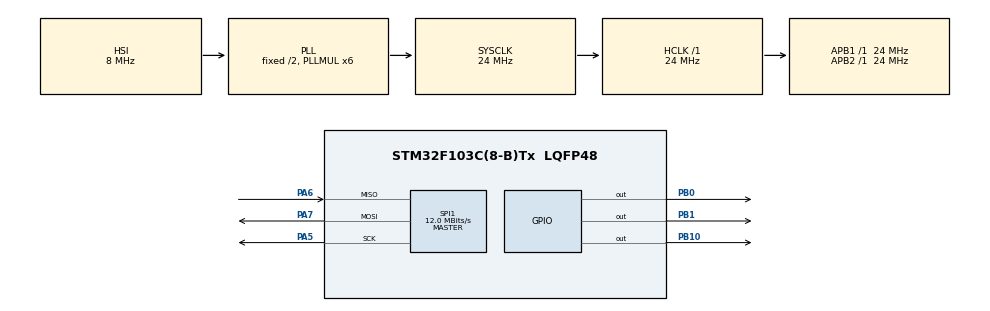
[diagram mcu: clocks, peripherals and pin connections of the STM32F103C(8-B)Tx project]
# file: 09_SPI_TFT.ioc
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Mcu.Family=STM32F1
Mcu.Name=STM32F103C(8-B)Tx
Mcu.Package=LQFP48
NVIC.PriorityGroup=NVIC_PRIORITYGROUP_4
PA13.Mode=Serial_Wire
PA13.Signal=SYS_JTMS-SWDIO
PA14.Mode=Serial_Wire
PA14.Signal=SYS_JTCK-SWCLK
PA5.Mode=Full_Duplex_Master
PA5.Signal=SPI1_SCK
PA6.Mode=Full_Duplex_Master
PA6.Signal=SPI1_MISO
PA7.Mode=Full_Duplex_Master
PA7.Signal=SPI1_MOSI
PB0.Signal=GPIO_Output
PB1.Signal=GPIO_Output
PB10.Signal=GPIO_Output
ProjectManager.HeapSize=0x200
ProjectManager.StackSize=0x400
ProjectManager.TargetToolchain=MDK-ARM V5.32
RCC.AHBFreq_Value=24000000
RCC.APB1Freq_Value=24000000
RCC.APB1TimFreq_Value=24000000
RCC.APB2Freq_Value=24000000
RCC.APB2TimFreq_Value=24000000
RCC.HCLKFreq_Value=24000000
RCC.PLLMUL=RCC_PLL_MUL6
RCC.SYSCLKFreq_VALUE=24000000
RCC.SYSCLKSource=RCC_SYSCLKSOURCE_PLLCLK
RCC.USBFreq_Value=24000000
SPI1.CalculateBaudRate=12.0 MBits/s
SPI1.Direction=SPI_DIRECTION_2LINES
SPI1.Mode=SPI_MODE_MASTER
SPI1.VirtualType=VM_MASTER
board=custom

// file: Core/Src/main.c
/* USER CODE BEGIN Header */
/**
  ******************************************************************************
  * @file           : main.c
  * @brief          : Main program body
  ******************************************************************************
  * @attention
  *
  * Copyright (c) 2025 STMicroelectronics.
  * All rights reserved.
  *
  * This software is licensed under terms that can be found in the LICENSE file
  * in the root directory of this software component.
  * If no LICENSE file comes with this software, it is provided AS-IS.
  *
  ******************************************************************************
  */
/* USER CODE END Header */
#include "main.h"

SPI_HandleTypeDef hspi1;

void SystemClock_Config(void);
static void MX_GPIO_Init(void);
static void MX_SPI1_Init(void);

/* USER CODE BEGIN 0 */
#define LCD_CMD_END 0xFF

typedef struct {
  uint8_t width;
  uint8_t height;
  const uint16_t *data;
}FontDef;

// font ky tu
static const uint16_t Font7x10 [] = {
0x0000, 0x0000, 0x0000, 0x0000, 0x0000, 0x0000, 0x0000, 0x0000, 0x0000, 0x0000,  // sp
0x1000, 0x1000, 0x1000, 0x1000, 0x1000, 0x1000, 0x0000, 0x1000, 0x0000, 0x0000,  // !
0x2800, 0x2800, 0x2800, 0x0000, 0x0000, 0x0000, 0x0000, 0x0000, 0x0000, 0x0000,  // "
0x2400, 0x2400, 0x7C00, 0x2400, 0x4800, 0x7C00, 0x4800, 0x4800, 0x0000, 0x0000,  // #
0x3800, 0x5400, 0x5000, 0x3800, 0x1400, 0x5400, 0x5400, 0x3800, 0x1000, 0x0000,  // $
0x2000, 0x5400, 0x5800, 0x3000, 0x2800, 0x5400, 0x1400, 0x0800, 0x0000, 0x0000,  // %
0x1000, 0x2800, 0x2800, 0x1000, 0x3400, 0x4800, 0x4800, 0x3400, 0x0000, 0x0000,  // &
0x1000, 0x1000, 0x1000, 0x0000, 0x0000, 0x0000, 0x0000, 0x0000, 0x0000, 0x0000,  // '
0x0800, 0x1000, 0x2000, 0x2000, 0x2000, 0x2000, 0x2000, 0x2000, 0x1000, 0x0800,  // (
0x2000, 0x1000, 0x0800, 0x0800, 0x0800, 0x0800, 0x0800, 0x0800, 0x1000, 0x2000,  // )
0x1000, 0x3800, 0x1000, 0x2800, 0x0000, 0x0000, 0x0000, 0x0000, 0x0000, 0x0000,  // *
0x0000, 0x0000, 0x1000, 0x1000, 0x7C00, 0x1000, 0x1000, 0x0000, 0x0000, 0x0000,  // +
0x0000, 0x0000, 0x0000, 0x0000, 0x0000, 0x0000, 0x0000, 0x1000, 0x1000, 0x1000,  // ,
0x0000, 0x0000, 0x0000, 0x0000, 0x0000, 0x3800, 0x0000, 0x0000, 0x0000, 0x0000,  // -
0x0000, 0x0000, 0x0000, 0x0000, 0x0000, 0x0000, 0x0000, 0x1000, 0x0000, 0x0000,  // .
0x0800, 0x0800, 0x1000, 0x1000, 0x1000, 0x1000, 0x2000, 0x2000, 0x0000, 0x0000,  // /
0x3800, 0x4400, 0x4400, 0x5400, 0x4400, 0x4400, 0x4400, 0x3800, 0x0000, 0x0000,  // 0
0x1000, 0x3000, 0x5000, 0x1000, 0x1000, 0x1000, 0x1000, 0x1000, 0x0000, 0x0000,  // 1
0x3800, 0x4400, 0x4400, 0x0400, 0x0800, 0x1000, 0x2000, 0x7C00, 0x0000, 0x0000,  // 2
0x3800, 0x4400, 0x0400, 0x1800, 0x0400, 0x0400, 0x4400, 0x3800, 0x0000, 0x0000,  // 3
0x0800, 0x1800, 0x2800, 0x2800, 0x4800, 0x7C00, 0x0800, 0x0800, 0x0000, 0x0000,  // 4
0x7C00, 0x4000, 0x4000, 0x7800, 0x0400, 0x0400, 0x4400, 0x3800, 0x0000, 0x0000,  // 5
0x3800, 0x4400, 0x4000, 0x7800, 0x4400, 0x4400, 0x4400, 0x3800, 0x0000, 0x0000,  // 6
0x7C00, 0x0400, 0x0800, 0x1000, 0x1000, 0x2000, 0x2000, 0x2000, 0x0000, 0x0000,  // 7
0x3800, 0x4400, 0x4400, 0x3800, 0x4400, 0x4400, 0x4400, 0x3800, 0x0000, 0x0000,  // 8
0x3800, 0x4400, 0x4400, 0x4400, 0x3C00, 0x0400, 0x4400, 0x3800, 0x0000, 0x0000,  // 9
0x0000, 0x0000, 0x1000, 0x0000, 0x0000, 0x0000, 0x0000, 0x1000, 0x0000, 0x0000,  // :
0x0000, 0x0000, 0x0000, 0x1000, 0x0000, 0x0000, 0x0000, 0x1000, 0x1000, 0x1000,  // ;
0x0000, 0x0000, 0x0C00, 0x3000, 0x4000, 0x3000, 0x0C00, 0x0000, 0x0000, 0x0000,  // <
0x0000, 0x0000, 0x0000, 0x7C00, 0x0000, 0x7C00, 0x0000, 0x0000, 0x0000, 0x0000,  // =
0x0000, 0x0000, 0x6000, 0x1800, 0x0400, 0x1800, 0x6000, 0x0000, 0x0000, 0x0000,  // >
0x3800, 0x4400, 0x0400, 0x0800, 0x1000, 0x1000, 0x0000, 0x1000, 0x0000, 0x0000,  // ?
0x3800, 0x4400, 0x4C00, 0x5400, 0x5C00, 0x4000, 0x4000, 0x3800, 0x0000, 0x0000,  // @
0x1000, 0x2800, 0x2800, 0x2800, 0x2800, 0x7C00, 0x4400, 0x4400, 0x0000, 0x0000,  // A
0x7800, 0x4400, 0x4400, 0x7800, 0x4400, 0x4400, 0x4400, 0x7800, 0x0000, 0x0000,  // B
0x3800, 0x4400, 0x4000, 0x4000, 0x4000, 0x4000, 0x4400, 0x3800, 0x0000, 0x0000,  // C
0x7000, 0x4800, 0x4400, 0x4400, 0x4400, 0x4400, 0x4800, 0x7000, 0x0000, 0x0000,  // D
0x7C00, 0x4000, 0x4000, 0x7C00, 0x4000, 0x4000, 0x4000, 0x7C00, 0x0000, 0x0000,  // E
0x7C00, 0x4000, 0x4000, 0x7800, 0x4000, 0x4000, 0x4000, 0x4000, 0x0000, 0x0000,  // F
0x3800, 0x4400, 0x4000, 0x4000, 0x5C00, 0x4400, 0x4400, 0x3800, 0x0000, 0x0000,  // G
0x4400, 0x4400, 0x4400, 0x7C00, 0x4400, 0x4400, 0x4400, 0x4400, 0x0000, 0x0000,  // H
0x3800, 0x1000, 0x1000, 0x1000, 0x1000, 0x1000, 0x1000, 0x3800, 0x0000, 0x0000,  // I
0x0400, 0x0400, 0x0400, 0x0400, 0x0400, 0x0400, 0x4400, 0x3800, 0x0000, 0x0000,  // J
0x4400, 0x4800, 0x5000, 0x6000, 0x5000, 0x4800, 0x4800, 0x4400, 0x0000, 0x0000,  // K
0x4000, 0x4000, 0x4000, 0x4000, 0x4000, 0x4000, 0x4000, 0x7C00, 0x0000, 0x0000,  // L
0x4400, 0x6C00, 0x6C00, 0x5400, 0x4400, 0x4400, 0x4400, 0x4400, 0x0000, 0x0000,  // M
0x4400, 0x6400, 0x6400, 0x5400, 0x5400, 0x4C00, 0x4C00, 0x4400, 0x0000, 0x0000,  // N
0x3800, 0x4400, 0x4400, 0x4400, 0x4400, 0x4400, 0x4400, 0x3800, 0x0000, 0x0000,  // O
0x7800, 0x4400, 0x4400, 0x4400, 0x7800, 0x4000, 0x4000, 0x4000, 0x0000, 0x0000,  // P
0x3800, 0x4400, 0x4400, 0x4400, 0x4400, 0x4400, 0x5400, 0x3800, 0x0400, 0x0000,  // Q
0x7800, 0x4400, 0x4400, 0x4400, 0x7800, 0x4800, 0x4800, 0x4400, 0x0000, 0x0000,  // R
0x3800, 0x4400, 0x4000, 0x3000, 0x0800, 0x0400, 0x4400, 0x3800, 0x0000, 0x0000,  // S
0x7C00, 0x1000, 0x1000, 0x1000, 0x1000, 0x1000, 0x1000, 0x1000, 0x0000, 0x0000,  // T
0x4400, 0x4400, 0x4400, 0x4400, 0x4400, 0x4400, 0x4400, 0x3800, 0x0000, 0x0000,  // U
0x4400, 0x4400, 0x4400, 0x2800, 0x2800, 0x2800, 0x1000, 0x1000, 0x0000, 0x0000,  // V
0x4400, 0x4400, 0x5400, 0x5400, 0x5400, 0x6C00, 0x2800, 0x2800, 0x0000, 0x0000,  // W
0x4400, 0x2800, 0x2800, 0x1000, 0x1000, 0x2800, 0x2800, 0x4400, 0x0000, 0x0000,  // X
0x4400, 0x4400, 0x2800, 0x2800, 0x1000, 0x1000, 0x1000, 0x1000, 0x0000, 0x0000,  // Y
0x7C00, 0x0400, 0x0800, 0x1000, 0x1000, 0x2000, 0x4000, 0x7C00, 0x0000, 0x0000,  // Z
0x1800, 0x1000, 0x1000, 0x1000, 0x1000, 0x1000, 0x1000, 0x1000, 0x1000, 0x1800,  // [
0x2000, 0x2000, 0x1000, 0x1000, 0x1000, 0x1000, 0x0800, 0x0800, 0x0000, 0x0000,  /* \ */
0x3000, 0x1000, 0x1000, 0x1000, 0x1000, 0x1000, 0x1000, 0x1000, 0x1000, 0x3000,  // ]
0x1000, 0x2800, 0x2800, 0x4400, 0x0000, 0x0000, 0x0000, 0x0000, 0x0000, 0x0000,  // ^
0x0000, 0x0000, 0x0000, 0x0000, 0x0000, 0x0000, 0x0000, 0x0000, 0x0000, 0xFE00,  // _
0x2000, 0x1000, 0x0000, 0x0000, 0x0000, 0x0000, 0x0000, 0x0000, 0x0000, 0x0000,  // `
0x0000, 0x0000, 0x3800, 0x4400, 0x3C00, 0x4400, 0x4C00, 0x3400, 0x0000, 0x0000,  // a
0x4000, 0x4000, 0x5800, 0x6400, 0x4400, 0x4400, 0x6400, 0x5800, 0x0000, 0x0000,  // b
0x0000, 0x0000, 0x3800, 0x4400, 0x4000, 0x4000, 0x4400, 0x3800, 0x0000, 0x0000,  // c
0x0400, 0x0400, 0x3400, 0x4C00, 0x4400, 0x4400, 0x4C00, 0x3400, 0x0000, 0x0000,  // d
0x0000, 0x0000, 0x3800, 0x4400, 0x7C00, 0x4000, 0x4400, 0x3800, 0x0000, 0x0000,  // e
0x0C00, 0x1000, 0x7C00, 0x1000, 0x1000, 0x1000, 0x1000, 0x1000, 0x0000, 0x0000,  // f
0x0000, 0x0000, 0x3400, 0x4C00, 0x4400, 0x4400, 0x4C00, 0x3400, 0x0400, 0x7800,  // g
0x4000, 0x4000, 0x5800, 0x6400, 0x4400, 0x4400, 0x4400, 0x4400, 0x0000, 0x0000,  // h
0x1000, 0x0000, 0x7000, 0x1000, 0x1000, 0x1000, 0x1000, 0x1000, 0x0000, 0x0000,  // i
0x1000, 0x0000, 0x7000, 0x1000, 0x1000, 0x1000, 0x1000, 0x1000, 0x1000, 0xE000,  // j
0x4000, 0x4000, 0x4800, 0x5000, 0x6000, 0x5000, 0x4800, 0x4400, 0x0000, 0x0000,  // k
0x7000, 0x1000, 0x1000, 0x1000, 0x1000, 0x1000, 0x1000, 0x1000, 0x0000, 0x0000,  // l
0x0000, 0x0000, 0x7800, 0x5400, 0x5400, 0x5400, 0x5400, 0x5400, 0x0000, 0x0000,  // m
0x0000, 0x0000, 0x5800, 0x6400, 0x4400, 0x4400, 0x4400, 0x4400, 0x0000, 0x0000,  // n
0x0000, 0x0000, 0x3800, 0x4400, 0x4400, 0x4400, 0x4400, 0x3800, 0x0000, 0x0000,  // o
0x0000, 0x0000, 0x5800, 0x6400, 0x4400, 0x4400, 0x6400, 0x5800, 0x4000, 0x4000,  // p
0x0000, 0x0000, 0x3400, 0x4C00, 0x4400, 0x4400, 0x4C00, 0x3400, 0x0400, 0x0400,  // q
0x0000, 0x0000, 0x5800, 0x6400, 0x4000, 0x4000, 0x4000, 0x4000, 0x0000, 0x0000,  // r
0x0000, 0x0000, 0x3800, 0x4400, 0x3000, 0x0800, 0x4400, 0x3800, 0x0000, 0x0000,  // s
0x2000, 0x2000, 0x7800, 0x2000, 0x2000, 0x2000, 0x2000, 0x1800, 0x0000, 0x0000,  // t
0x0000, 0x0000, 0x4400, 0x4400, 0x4400, 0x4400, 0x4C00, 0x3400, 0x0000, 0x0000,  // u
0x0000, 0x0000, 0x4400, 0x4400, 0x2800, 0x2800, 0x2800, 0x1000, 0x0000, 0x0000,  // v
0x0000, 0x0000, 0x5400, 0x5400, 0x5400, 0x6C00, 0x2800, 0x2800, 0x0000, 0x0000,  // w
0x0000, 0x0000, 0x4400, 0x2800, 0x1000, 0x1000, 0x2800, 0x4400, 0x0000, 0x0000,  // x
0x0000, 0x0000, 0x4400, 0x4400, 0x2800, 0x2800, 0x1000, 0x1000, 0x1000, 0x6000,  // y
0x0000, 0x0000, 0x7C00, 0x0800, 0x1000, 0x2000, 0x4000, 0x7C00, 0x0000, 0x0000,  // z
0x1800, 0x1000, 0x1000, 0x1000, 0x2000, 0x2000, 0x1000, 0x1000, 0x1000, 0x1800,  // {
0x1000, 0x1000, 0x1000, 0x1000, 0x1000, 0x1000, 0x1000, 0x1000, 0x1000, 0x1000,  // |
0x3000, 0x1000, 0x1000, 0x1000, 0x0800, 0x0800, 0x1000, 0x1000, 0x1000, 0x3000,  // }
0x0000, 0x0000, 0x0000, 0x7400, 0x4C00, 0x0000, 0x0000, 0x0000, 0x0000, 0x0000,  // ~
};

FontDef Font_7x10 = {7, 10, Font7x10};

// list cmd, length data, data
static const uint8_t u8IntCmdList[] = {
  // Command    Length    Data
      0xB1,     0x03,     0x01, 0x2C, 0x2D,
      0xB2,     0x03,     0x01, 0x2C, 0x2D,
      0xB3,     0x06,     0x01, 0x2C, 0x2D, 0x01, 0x2C, 0x2D,
      0xB4,     0x01,     0x07,
      0xC0,     0x03,     0xA2, 0x02, 0x84,
      0xC1,     0x01,     0xC5,
      0xC2,     0x02,     0x0A, 0x00,
      0xC3,     0x02,     0x8A, 0x2A,
      0xC4,     0x02,     0x8A, 0xEE,
      0xC5,     0x01,     0x0E,
      0xE0,     0x10,     0x02, 0x1C, 0x07, 0x12, 0x37, 0x32, 0x29, 0x2D, 0x29, 0x25, 0x2B, 0x39, 0x00, 0x01, 0x03, 0x10,
      0xE1,     0x10,     0x03, 0x1D, 0x07, 0x06, 0x2E, 0x2C, 0x29, 0x2D, 0x2E, 0x2E, 0x37, 0x3F, 0x00, 0x00, 0x03, 0x10,
      LCD_CMD_END, LCD_CMD_END
};

// Send CMD
void TFT_writeCMD(uint8_t cmd) {
  HAL_GPIO_WritePin(GPIOB, GPIO_PIN_0, 0); // CS = 0
  HAL_GPIO_WritePin(GPIOB, GPIO_PIN_1, 0); // A0 = 0 => gui CMD
  HAL_SPI_Transmit(&hspi1, &cmd, 1, 1000);
  HAL_GPIO_WritePin(GPIOB, GPIO_PIN_0, 1); // CS = 1
}

// Send Data
void TFT_writeData(uint8_t data) {
  HAL_GPIO_WritePin(GPIOB, GPIO_PIN_0, 0); // CS = 0
  HAL_GPIO_WritePin(GPIOB, GPIO_PIN_1, 1); // A0 = 1 => gui Data
  HAL_SPI_Transmit(&hspi1, &data, 1, 1000);
  HAL_GPIO_WritePin(GPIOB, GPIO_PIN_0, 1); // CS = 1
}

// gui cmd, so luong data tuong ung voi cm, gia tri data
void sendCMDList(const uint8_t *cmdList) {
  uint8_t index = 0;
  uint8_t cmd = 0;
  uint8_t num = 0;

  // lay cmd tuong ung, xac dinh so luong data can gui, gui so luong data tuong ung
  // su dung kien thuc ve con tro, di chuyen con tro trong mang
  while(1) {
    cmd = *cmdList++;
    num = *cmdList++;
    if(cmd == LCD_CMD_END) {
      break;
    } else {
      TFT_writeCMD(cmd);
      for(index = 0 ; index < num ; index++) {
        TFT_writeData(*cmdList++);
      }
    }
  }
}

// set column, row of TFT
void TFT_setPosition(uint8_t x1, uint8_t y1, uint8_t x2, uint8_t y2) {
  // row
  TFT_writeCMD(0x2A);
  TFT_writeData(0x00);
  TFT_writeData(x1);
  TFT_writeData(0x00);
  TFT_writeData(x2);

  // column
  TFT_writeCMD(0x2B);
  TFT_writeData(0x00);
  TFT_writeData(y1);
  TFT_writeData(0x00);
  TFT_writeData(y2);
}

// hien thi mau RGB - 565 - len man hinh
void TFT_fullDisplay(uint16_t color) {
  TFT_writeCMD(0x2C); // write data into RAM of TFT
  int i;
  for(i = 0 ; i < 128*160 ; i++) {
    TFT_writeData(color & 0xFF); // gui 8 bit thap truoc
    TFT_writeData(color >> 8); // gui 8 bit cao
  }
}

// ve pixe len man TFT
void drawPixel (uint8_t x, uint8_t y, uint16_t color) {
  if(x >= 128 || y >= 160) {
    return;
  }
  TFT_setPosition(x, y, x+1, y+1);
    // truy cap vao RAM
    TFT_writeCMD(0x2C);
    // Ve 1 pixel
    TFT_writeData(color & 0xFF);
    TFT_writeData(color >> 8);
}

// ve ky tu len TFT
void drawChar(uint8_t x, uint8_t y, char ch, FontDef font, uint16_t color, uint16_t bg) {
  uint8_t i,j;
  uint16_t pixelData;
  for(i = 0 ; i < font.height ; i++) {
    pixelData = font.data[(ch - 32)*font.height + i];
    for(i = 0 ; j < font.width ; j++) {
      if((pixelData << j) & 0x8000) {
        drawPixel(x+j, y+i, color);
      } else {
        drawPixel(x+j, y+i, bg);
      }
    }
  }
}

// ve string
void drawString(uint8_t x, uint8_t y, char *str, FontDef font, uint16_t color, uint16_t bg) {
  while(*str) {
    drawChar(x, y, *str, font, color, bg);
    x += font.width;
    str++;
  }
}

// Init TFT
void TFT_Init() {
  // Reset Hardware
  HAL_GPIO_WritePin(GPIOB, GPIO_PIN_10, 0);
  HAL_Delay(20);
  HAL_GPIO_WritePin(GPIOB, GPIO_PIN_10, 1);
  HAL_Delay(200);

  // Reset SW
  TFT_writeCMD(0x01);
  HAL_Delay(200);
  // Sleep Out
  TFT_writeCMD(0x11);
  HAL_Delay(200);

  // gui cmd va data tuong ung
  sendCMDList(u8IntCmdList);

  // Memory Data Access Control
  TFT_writeCMD(0x36);
  // write data
  TFT_writeData(0x08);

  // Interface Pixel Format
  TFT_writeCMD(0x3A);
  // write data
  TFT_writeData(0x05);

  // Display inversion off
  TFT_writeCMD(0x20);

  // set kich thuoc muon hien thi tren man hinh
  TFT_setPosition(0,0,128,160);

  // Enable Display
  TFT_writeCMD(0x29);
  HAL_Delay(100);
}
/* USER CODE END 0 */

int main(void)
{

  /* MCU Configuration--------------------------------------------------------*/

  /* Reset of all peripherals, Initializes the Flash interface and the Systick. */
  HAL_Init();

  /* Configure the system clock */
  SystemClock_Config();

  /* Initialize all configured peripherals */
  MX_GPIO_Init();
  MX_SPI1_Init();
  /* USER CODE BEGIN 2 */
  HAL_GPIO_WritePin(GPIOB, GPIO_PIN_0, 1);
  TFT_Init();
  TFT_fullDisplay(0x0000); // nen man hinh mau den
  // drawString(10, 30, "HELLO", Font_7x10, 0xFFFF, 0x0000); // check display 1 char
  /* USER CODE END 2 */

  /* Infinite loop */
  while (1)
  {
    drawString(10, 30, "HELLO", Font_7x10, 0xFFFF, 0x0000);
    HAL_Delay(100);
  }
}

void SystemClock_Config(void)
{
  RCC_OscInitTypeDef RCC_OscInitStruct = {0};
  RCC_ClkInitTypeDef RCC_ClkInitStruct = {0};

  /** Initializes the RCC Oscillators according to the specified parameters
  * in the RCC_OscInitTypeDef structure.
  */
  RCC_OscInitStruct.OscillatorType = RCC_OSCILLATORTYPE_HSI;
  RCC_OscInitStruct.HSIState = RCC_HSI_ON;
  RCC_OscInitStruct.HSICalibrationValue = RCC_HSICALIBRATION_DEFAULT;
  RCC_OscInitStruct.PLL.PLLState = RCC_PLL_ON;
  RCC_OscInitStruct.PLL.PLLSource = RCC_PLLSOURCE_HSI_DIV2;
  RCC_OscInitStruct.PLL.PLLMUL = RCC_PLL_MUL6;
  if (HAL_RCC_OscConfig(&RCC_OscInitStruct) != HAL_OK)
  {
    Error_Handler();
  }

  /** Initializes the CPU, AHB and APB buses clocks
  */
  RCC_ClkInitStruct.ClockType = RCC_CLOCKTYPE_HCLK|RCC_CLOCKTYPE_SYSCLK
                              |RCC_CLOCKTYPE_PCLK1|RCC_CLOCKTYPE_PCLK2;
  RCC_ClkInitStruct.SYSCLKSource = RCC_SYSCLKSOURCE_PLLCLK;
  RCC_ClkInitStruct.AHBCLKDivider = RCC_SYSCLK_DIV1;
  RCC_ClkInitStruct.APB1CLKDivider = RCC_HCLK_DIV1;
  RCC_ClkInitStruct.APB2CLKDivider = RCC_HCLK_DIV1;

  if (HAL_RCC_ClockConfig(&RCC_ClkInitStruct, FLASH_LATENCY_0) != HAL_OK)
  {
    Error_Handler();
  }
}

static void MX_SPI1_Init(void)
{

  /* SPI1 parameter configuration*/
  hspi1.Instance = SPI1;
  hspi1.Init.Mode = SPI_MODE_MASTER;
  hspi1.Init.Direction = SPI_DIRECTION_2LINES;
  hspi1.Init.DataSize = SPI_DATASIZE_8BIT;
  hspi1.Init.CLKPolarity = SPI_POLARITY_LOW;
  hspi1.Init.CLKPhase = SPI_PHASE_1EDGE;
  hspi1.Init.NSS = SPI_NSS_SOFT;
  hspi1.Init.BaudRatePrescaler = SPI_BAUDRATEPRESCALER_2;
  hspi1.Init.FirstBit = SPI_FIRSTBIT_MSB;
  hspi1.Init.TIMode = SPI_TIMODE_DISABLE;
  hspi1.Init.CRCCalculation = SPI_CRCCALCULATION_DISABLE;
  hspi1.Init.CRCPolynomial = 10;
  if (HAL_SPI_Init(&hspi1) != HAL_OK)
  {
    Error_Handler();
  }

}

static void MX_GPIO_Init(void)
{
  GPIO_InitTypeDef GPIO_InitStruct = {0};

  /* GPIO Ports Clock Enable */
  __HAL_RCC_GPIOA_CLK_ENABLE();
  __HAL_RCC_GPIOB_CLK_ENABLE();

  /*Configure GPIO pin Output Level */
  HAL_GPIO_WritePin(GPIOB, GPIO_PIN_0|GPIO_PIN_1|GPIO_PIN_10, GPIO_PIN_RESET);

  /*Configure GPIO pins : PB0 PB1 PB10 */
  GPIO_InitStruct.Pin = GPIO_PIN_0|GPIO_PIN_1|GPIO_PIN_10;
  GPIO_InitStruct.Mode = GPIO_MODE_OUTPUT_PP;
  GPIO_InitStruct.Pull = GPIO_NOPULL;
  GPIO_InitStruct.Speed = GPIO_SPEED_FREQ_LOW;
  HAL_GPIO_Init(GPIOB, &GPIO_InitStruct);

}

void Error_Handler(void)
{
  __disable_irq();
  while (1)
  {
  }
}
